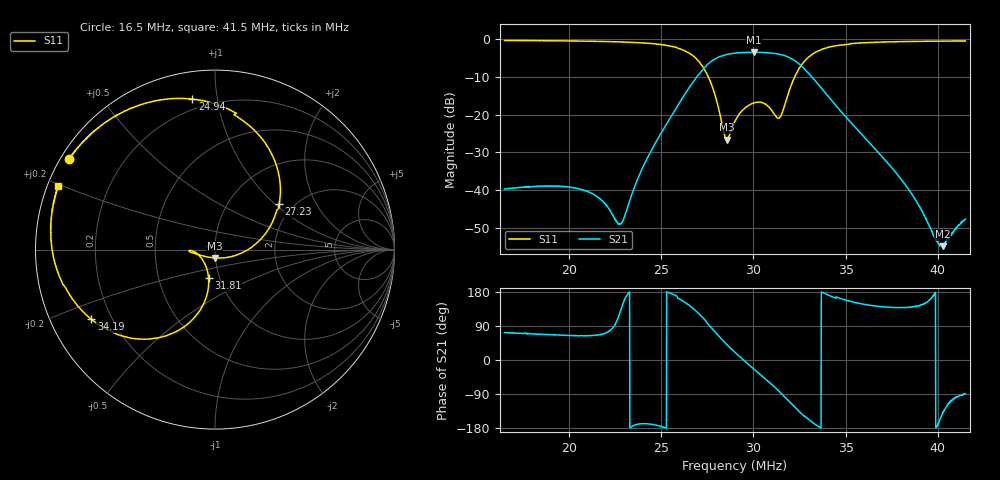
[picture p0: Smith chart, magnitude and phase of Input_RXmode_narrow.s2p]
# HZ S RI R 50
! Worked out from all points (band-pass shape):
!   1616 points, 16.5 MHz to 41.5 MHz, reference 50 ohm
!   highest |S21| = -3.51 dB at 30.03 MHz (marker M1); lowest = -54.9 dB at 40.28 MHz (marker M2)
!   |S21| within 3 dB of the highest: 27.56 MHz to 32.46 MHz (4.898 MHz wide, 16.3 % of centre)
!   lowest |S11| = -26.6 dB at 28.54 MHz (marker M3), VSWR 1.10, Z = 49.6 - j4.63 ohm
!   |S11| at or under -10 dB: 27.55 MHz to 32.24 MHz (4.691 MHz wide, 15.7 % of centre)
!   S12 and S22 are empty: the file has one direction only
!   S11 on the Smith chart (normalised r, x): 16.5 MHz: 0.02, +0.28; 24.94 MHz: 0.14, +0.85; 27.23 MHz: 1.69, +1.07; 31.81 MHz: 0.89, -0.29; 34.19 MHz: 0.12, -0.26; 41.5 MHz: 0.03, +0.19
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1.65e7  -0.8136 0.5034  0.00312 0.00978  0 0  0 0
2.06796e7  -0.6398 0.6868  0.00445 0.00915  0 0  0 0
2.171676e7  -0.5675 0.7367  0.00296 0.00691  0 0  0 0
2.278488e7  -0.4681 0.7881  -0.00224 0.00276  0 0  0 0
2.386848e7  -0.3278 0.8301  -0.0166 -0.00341  0 0  0 0
2.484372e7  -0.1474 0.8407  -0.049 -0.00562  0 0  0 0
2.49366e7  -0.1264 0.8386  -0.0537 -0.00507  0 0  0 0
2.6175e7  0.1919 0.6902  -0.1543 0.0701  0 0  0 0
2.722764e7  0.3576 0.2556  -0.1518 0.3559  0 0  0 0
2.789328e7  0.1892 0.00354  0.1377 0.5231  0 0  0 0
2.854344e7  -0.00141 -0.0465  0.4666 0.4133  0 0  0 0
2.900784e7  -0.0757 -0.0326  0.6123 0.2192  0 0  0 0
3.002952e7  -0.1423 -0.0113  0.61 -0.2719  0 0  0 0
3.13608e7  -0.0724 -0.0527  0.0966 -0.6245  0 0  0 0
3.180972e7  -0.0358 -0.1603  -0.13 -0.5738  0 0  0 0
3.245988e7  -0.1178 -0.3823  -0.3324 -0.3353  0 0  0 0
3.317196e7  -0.3753 -0.499  -0.3012 -0.0884  0 0  0 0
3.419364e7  -0.689 -0.3881  -0.1557 0.0322  0 0  0 0
3.53856e7  -0.8555 -0.1745  -0.0658 0.0333  0 0  0 0
3.733608e7  -0.9141 0.0667  -0.0167 0.0144  0 0  0 0
4.027728e7  -0.8922 0.2881  -0.00134 -0.0012  0 0  0 0
4.15002e7  -0.8733 0.354  5.89e-05 -0.00411  0 0  0 0
